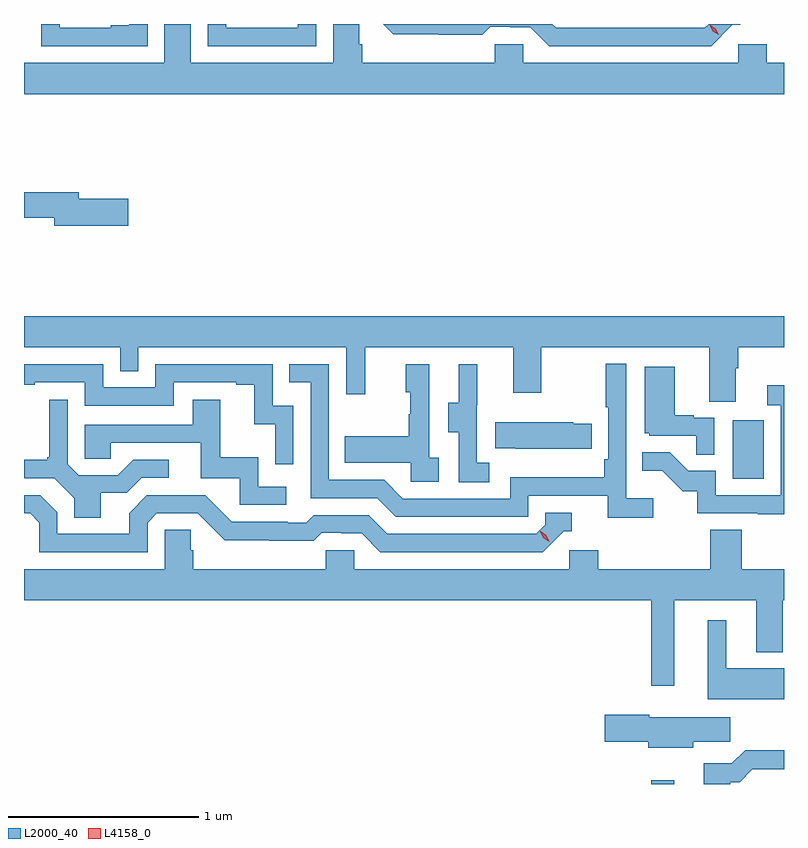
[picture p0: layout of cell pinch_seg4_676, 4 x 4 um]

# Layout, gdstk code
import gdstk
lib = gdstk.Library(unit=1e-6, precision=1e-09)
def R(c, l, rs):  # rectangles x0, y0, x1, y1
    for r in rs: c.add(gdstk.rectangle(r[:2], r[2:], *l))
def P(c, l, *ps):  # polygons
    for p in ps: c.add(gdstk.Polygon(p, *l))
L2000_40 = (2000, 40)
L4158_0 = (4158, 0)

pinch_seg4_676 = lib.new_cell('pinch_seg4_676')
R(pinch_seg4_676, L2000_40, [(1139.736,763.885,1139.857,763.906), (1140.164,765.492,1140.328,765.799)])
P(pinch_seg4_676, L2000_40, [(1140.162,767.88),(1140.205,767.88),(1140.205,767.885),(1140.038,767.885),(1140.018,767.865),(1139.235,767.865),(1139.215,767.885),(1138.324,767.885),(1138.378,767.831),(1138.614,767.831),(1138.614,767.829),(1138.847,767.829),(1138.889,767.871),(1138.992,767.871),(1138.992,767.868),(1139.099,767.868),(1139.198,767.769),(1140.051,767.769)],
  [(1137.972,767.885),(1137.875,767.885),(1137.875,767.865),(1137.498,767.865),(1137.498,767.885),(1137.402,767.885),(1137.402,767.769),(1137.972,767.769)],
  [(1137.084,767.885),(1136.987,767.885),(1136.987,767.878),(1136.891,767.878),(1136.891,767.865),(1136.622,767.865),(1136.622,767.885),(1136.526,767.885),(1136.526,767.769),(1137.084,767.769)],
  [(1140.434,767.68),(1140.344,767.68),(1140.344,767.778),(1140.192,767.778),(1140.192,767.68),(1139.061,767.68),(1139.061,767.778),(1138.911,767.778),(1138.911,767.68),(1138.214,767.68),(1138.214,767.778),(1138.199,767.778),(1138.199,767.885),(1138.062,767.885),(1138.062,767.68),(1137.312,767.68),(1137.312,767.885),(1137.173,767.885),(1137.173,767.68),(1136.434,767.68),(1136.434,767.516),(1140.434,767.516)],
  [(1136.983,766.964),(1136.722,766.964),(1136.722,767),(1136.434,767),(1136.434,766.864),(1136.594,766.864),(1136.594,766.822),(1136.983,766.822)],
  [(1140.181,766.072),(1140.194,766.072),(1140.194,766.184),(1140.434,766.184),(1140.434,766.348),(1136.434,766.348),(1136.434,766.184),(1136.94,766.184),(1136.94,766.057),(1137.036,766.057),(1137.036,766.184),(1138.131,766.184),(1138.131,765.936),(1138.229,765.936),(1138.229,766.184),(1139.009,766.184),(1139.009,765.945),(1139.157,765.945),(1139.157,766.184),(1140.041,766.184),(1140.041,765.898),(1140.181,765.898)],
  [(1139.746,765.388),(1139.604,765.388),(1139.604,766.096),(1139.496,766.096),(1139.496,765.868),(1139.508,765.868),(1139.508,765.595),(1139.488,765.595),(1139.488,765.499),(1138.992,765.499),(1138.992,765.387),(1138.428,765.387),(1138.329,765.486),(1138.038,765.486),(1138.038,766.095),(1137.829,766.095),(1137.829,765.999),(1137.942,765.999),(1137.942,765.39),(1138.292,765.39),(1138.391,765.291),(1139.088,765.291),(1139.088,765.402),(1139.507,765.402),(1139.507,765.286),(1139.746,765.286)],
  [(1137.852,765.876),(1137.744,765.876),(1137.744,766.095),(1137.126,766.095),(1137.126,765.972),(1136.85,765.972),(1136.85,766.095),(1136.434,766.095),(1136.434,765.987),(1136.491,765.987),(1136.491,765.999),(1136.754,765.999),(1136.754,765.876),(1137.222,765.876),(1137.222,765.999),(1137.551,765.999),(1137.551,765.987),(1137.647,765.987),(1137.647,765.779),(1137.756,765.779),(1137.756,765.567),(1137.852,765.567)],
  [(1138.618,765.602),(1138.566,765.602),(1138.566,766.093),(1138.442,766.093),(1138.442,765.948),(1138.468,765.948),(1138.468,765.83),(1138.458,765.83),(1138.458,765.715),(1138.123,765.715),(1138.123,765.575),(1138.47,765.575),(1138.47,765.477),(1138.618,765.477)],
  [(1138.882,765.575),(1138.818,765.575),(1138.818,765.879),(1138.82,765.879),(1138.82,766.093),(1138.721,766.093),(1138.721,765.891),(1138.667,765.891),(1138.667,765.736),(1138.722,765.736),(1138.722,765.472),(1138.882,765.472)],
  [(1140.066,765.813),(1139.96,765.813),(1139.96,765.826),(1139.86,765.826),(1139.86,766.081),(1139.702,766.081),(1139.702,765.732),(1139.724,765.732),(1139.724,765.717),(1139.971,765.717),(1139.971,765.619),(1140.066,765.619)],
  [(1140.434,765.985),(1140.345,765.985),(1140.345,765.879),(1140.417,765.879),(1140.417,765.405),(1140.075,765.405),(1140.075,765.534),(1139.931,765.534),(1139.833,765.632),(1139.689,765.632),(1139.689,765.533),(1139.793,765.533),(1139.9,765.426),(1139.977,765.426),(1139.977,765.309),(1140.295,765.309),(1140.295,765.304),(1140.434,765.304)],
  [(1137.814,765.45),(1137.666,765.45),(1137.666,765.604),(1137.467,765.604),(1137.467,765.907),(1137.323,765.907),(1137.323,765.777),(1136.754,765.777),(1136.754,765.597),(1136.891,765.597),(1136.891,765.681),(1137.365,765.681),(1137.365,765.495),(1137.57,765.495),(1137.57,765.354),(1137.814,765.354)],
  [(1136.839,765.418),(1136.974,765.418),(1137.054,765.498),(1137.196,765.498),(1137.196,765.591),(1137.008,765.591),(1136.927,765.51),(1136.721,765.51),(1136.664,765.567),(1136.664,765.907),(1136.567,765.907),(1136.567,765.604),(1136.556,765.604),(1136.556,765.592),(1136.434,765.592),(1136.434,765.495),(1136.592,765.495),(1136.699,765.388),(1136.699,765.286),(1136.839,765.286)],
  [(1139.423,765.78),(1139.325,765.78),(1139.325,765.79),(1138.915,765.79),(1138.915,765.653),(1139.023,765.653),(1139.023,765.65),(1139.423,765.65)],
  [(1137.084,765.261),(1137.132,765.309),(1137.348,765.309),(1137.49,765.167),(1137.726,765.167),(1137.726,765.165),(1137.959,765.165),(1138.001,765.207),(1138.104,765.207),(1138.104,765.204),(1138.211,765.204),(1138.31,765.105),(1139.163,765.105),(1139.274,765.216),(1139.317,765.216),(1139.317,765.312),(1139.178,765.312),(1139.178,765.249),(1139.13,765.201),(1138.347,765.201),(1138.248,765.3),(1137.959,765.3),(1137.92,765.261),(1137.821,765.261),(1137.821,765.264),(1137.528,765.264),(1137.387,765.405),(1137.081,765.405),(1136.987,765.311),(1136.987,765.201),(1136.61,765.201),(1136.61,765.315),(1136.52,765.405),(1136.434,765.405),(1136.434,765.309),(1136.466,765.309),(1136.514,765.261),(1136.514,765.105),(1137.084,765.105)],
  [(1139.857,764.852),(1140.287,764.852),(1140.287,764.579),(1140.427,764.579),(1140.427,764.852),(1140.434,764.852),(1140.434,765.016),(1140.212,765.016),(1140.212,765.224),(1140.047,765.224),(1140.047,765.016),(1139.456,765.016),(1139.456,765.114),(1139.304,765.114),(1139.304,765.016),(1138.173,765.016),(1138.173,765.114),(1138.023,765.114),(1138.023,765.016),(1137.326,765.016),(1137.326,765.114),(1137.311,765.114),(1137.311,765.224),(1137.174,765.224),(1137.174,765.016),(1136.434,765.016),(1136.434,764.852),(1139.736,764.852),(1139.736,764.403),(1139.857,764.403)],
  [(1140.434,764.494),(1140.13,764.494),(1140.13,764.746),(1140.032,764.746),(1140.032,764.33),(1140.434,764.33)],
  [(1139.956,764.107),(1140.151,764.107),(1140.151,764.236),(1139.724,764.236),(1139.724,764.249),(1139.49,764.249),(1139.49,764.107),(1139.72,764.107),(1139.72,764.075),(1139.956,764.075)],
  [(1140.151,763.895),(1140.2,763.895),(1140.267,763.962),(1140.434,763.962),(1140.434,764.063),(1140.23,764.063),(1140.16,763.993),(1140.011,763.993),(1140.011,763.885),(1140.151,763.885)])
P(pinch_seg4_676, L4158_0, [(1139.199,765.161),(1139.168,765.181),(1139.152,765.214),(1139.152,765.214),(1139.153,765.214),(1139.183,765.194),(1139.199,765.161),(1139.199,765.161)],
  [(1140.09,767.828),(1140.06,767.847),(1140.043,767.88),(1140.043,767.88),(1140.044,767.88),(1140.074,767.861),(1140.09,767.828),(1140.09,767.828)])

lib.write_gds('pinch_seg4_676.gds')
